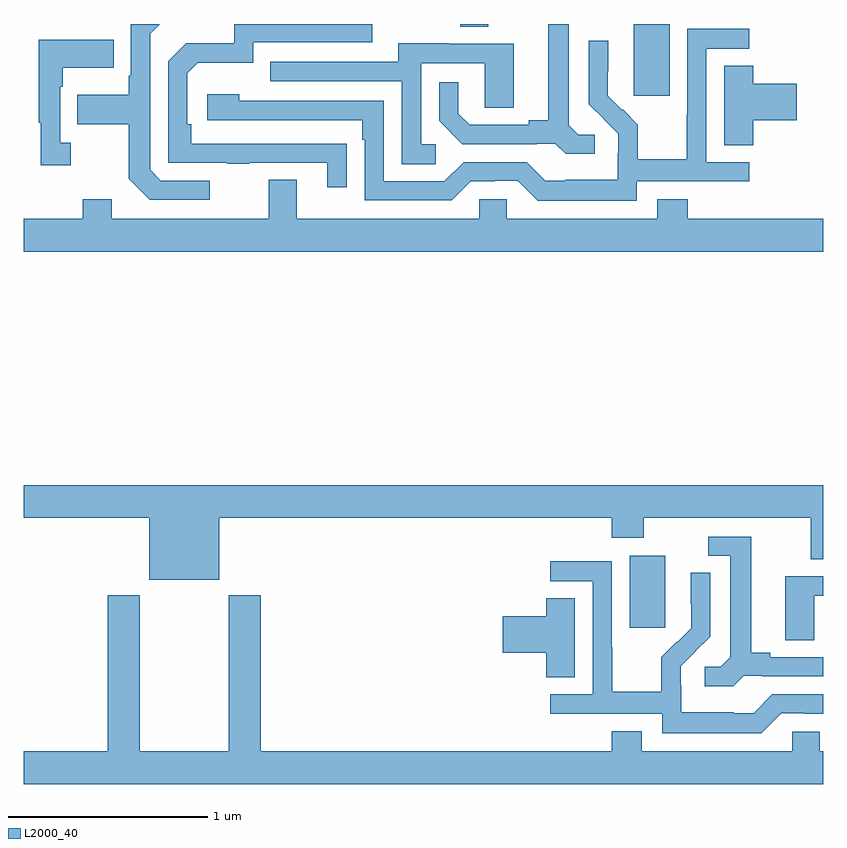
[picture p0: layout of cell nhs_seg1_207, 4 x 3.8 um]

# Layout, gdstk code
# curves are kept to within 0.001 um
import gdstk
lib = gdstk.Library(unit=1e-6, precision=1e-09)
def R(c, l, rs):  # rectangles x0, y0, x1, y1
    for r in rs: c.add(gdstk.rectangle(r[:2], r[2:], *l))
def P(c, l, *ps):  # polygons
    for p in ps: c.add(gdstk.Polygon(p, *l))
L2000_40 = (2000, 40)

nhs_seg1_207 = lib.new_cell('nhs_seg1_207')
R(nhs_seg1_207, L2000_40, [(124.031,555.177,124.21,555.538), (124.052,557.841,124.231,558.199), (123.185,558.184,123.325,558.199)])
P(nhs_seg1_207, L2000_40, [(122.615,557.6),(121.838,557.601),(121.838,557.698),(121.818,557.698),(121.818,557.952),(121.871,558.005),(122.148,558.005),(122.148,558.108),(122.743,558.108),(122.743,558.199),(122.052,558.199),(122.052,558.102),(121.812,558.102),(121.722,558.012),(121.722,557.505),(122.017,557.505),(122.017,557.5),(122.129,557.5),(122.129,557.505),(122.519,557.505),(122.519,557.382),(122.615,557.382)],
  [(121.93,557.415),(121.686,557.415),(121.632,557.469),(121.632,558.15),(121.681,558.199),(121.536,558.199),(121.536,557.941),(121.524,557.941),(121.524,557.845),(121.267,557.845),(121.267,557.698),(121.524,557.698),(121.524,557.425),(121.629,557.319),(121.93,557.319)],
  [(123.856,557.646),(123.774,557.646),(123.727,557.693),(123.727,558.199),(123.623,558.199),(123.623,557.717),(123.527,557.717),(123.527,557.694),(123.232,557.694),(123.175,557.751),(123.175,557.908),(123.078,557.908),(123.078,557.714),(123.194,557.598),(123.566,557.598),(123.566,557.601),(123.66,557.601),(123.712,557.549),(123.856,557.549)],
  [(124.068,557.412),(124.63,557.412),(124.63,557.508),(124.416,557.508),(124.416,558.075),(124.63,558.075),(124.63,558.174),(124.32,558.174),(124.32,557.744),(124.318,557.744),(124.318,557.521),(124.073,557.521),(124.073,557.695),(123.996,557.772),(123.993,557.769),(123.923,557.84),(123.924,558.116),(123.828,558.116),(123.828,557.798),(123.974,557.65),(123.974,557.553),(123.972,557.553),(123.972,557.419),(123.709,557.419),(123.709,557.415),(123.609,557.415),(123.516,557.508),(123.201,557.508),(123.105,557.412),(122.802,557.412),(122.802,557.814),(122.078,557.814),(122.078,557.848),(121.917,557.848),(121.917,557.718),(122.693,557.718),(122.693,557.621),(122.706,557.621),(122.706,557.316),(123.141,557.316),(123.237,557.412),(123.356,557.412),(123.356,557.415),(123.471,557.415),(123.571,557.315),(124.068,557.315)],
  [(121.234,557.606),(121.182,557.606),(121.182,557.885),(121.195,557.885),(121.195,557.981),(121.451,557.981),(121.451,558.121),(121.074,558.121),(121.074,557.705),(121.085,557.705),(121.085,557.493),(121.234,557.493)],
  [(123.061,557.598),(122.988,557.598),(122.988,558.003),(123.306,558.003),(123.306,557.779),(123.451,557.779),(123.451,558.099),(123.127,558.099),(123.127,558.103),(122.873,558.103),(122.873,558.009),(122.233,558.009),(122.233,557.913),(122.892,557.913),(122.892,557.497),(123.061,557.497)],
  [(124.649,557.717),(124.867,557.717),(124.867,557.9),(124.649,557.9),(124.649,557.99),(124.505,557.99),(124.505,557.593),(124.649,557.593)],
  [(125,557.224),(124.322,557.224),(124.322,557.323),(124.169,557.323),(124.169,557.224),(123.417,557.224),(123.417,557.322),(123.279,557.322),(123.279,557.224),(122.365,557.224),(122.365,557.419),(122.225,557.419),(122.225,557.224),(121.441,557.224),(121.441,557.323),(121.294,557.323),(121.294,557.224),(121,557.224),(121,557.06),(125,557.06)],
  [(121.978,555.728),(123.941,555.728),(123.941,555.629),(124.101,555.629),(124.101,555.728),(124.937,555.728),(124.937,555.52),(125,555.52),(125,555.892),(121,555.892),(121,555.728),(121.628,555.728),(121.628,555.419),(121.978,555.419)],
  [(124.602,554.937),(124.696,554.937),(124.696,554.934),(125,554.934),(125,555.03),(124.735,555.03),(124.735,555.053),(124.639,555.053),(124.639,555.633),(124.425,555.633),(124.425,555.537),(124.535,555.537),(124.535,555.029),(124.488,554.982),(124.407,554.982),(124.407,554.885),(124.55,554.885)],
  [(124.791,554.751),(124.907,554.751),(124.907,554.748),(125,554.748),(125,554.844),(124.746,554.844),(124.653,554.751),(124.553,554.751),(124.553,554.755),(124.29,554.755),(124.29,554.889),(124.288,554.889),(124.288,554.986),(124.434,555.134),(124.434,555.452),(124.338,555.452),(124.338,555.298),(124.34,555.298),(124.34,555.176),(124.269,555.105),(124.266,555.108),(124.189,555.031),(124.189,554.857),(123.945,554.857),(123.945,555.08),(123.942,555.08),(123.942,555.51),(123.633,555.51),(123.633,555.411),(123.846,555.411),(123.846,554.844),(123.633,554.844),(123.633,554.748),(124.194,554.748),(124.194,554.651),(124.691,554.651)],
  [(124.956,555.339),(125,555.339),(125,555.435),(124.811,555.435),(124.811,555.115),(124.956,555.115)],
  [(125,554.56),(124.983,554.56),(124.983,554.658),(124.845,554.658),(124.845,554.56),(124.093,554.56),(124.093,554.659),(123.941,554.659),(123.941,554.56),(122.186,554.56),(122.186,555.34),(122.026,555.34),(122.026,554.56),(121.581,554.56),(121.581,555.34),(121.421,555.34),(121.421,554.56),(121,554.56),(121,554.396),(125,554.396)],
  [(123.757,555.326),(123.614,555.326),(123.614,555.236),(123.396,555.236),(123.396,555.053),(123.614,555.053),(123.614,554.929),(123.757,554.929)])

lib.write_gds('nhs_seg1_207.gds')
